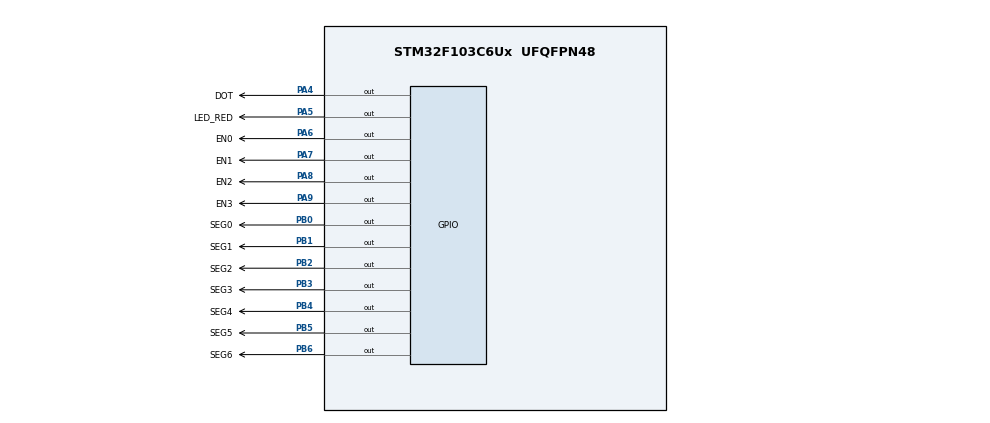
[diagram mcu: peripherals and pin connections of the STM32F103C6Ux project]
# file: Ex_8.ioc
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Mcu.Family=STM32F1
Mcu.Name=STM32F103C6Ux
Mcu.Package=UFQFPN48
NVIC.PriorityGroup=NVIC_PRIORITYGROUP_4
NVIC.TIM2_IRQn=true\:0\:0\:false\:false\:true\:true\:true
PA4.GPIO_Label=DOT
PA4.Signal=GPIO_Output
PA5.GPIO_Label=LED_RED
PA5.Signal=GPIO_Output
PA6.GPIO_Label=EN0
PA6.Signal=GPIO_Output
PA7.GPIO_Label=EN1
PA7.Signal=GPIO_Output
PA8.GPIO_Label=EN2
PA8.Signal=GPIO_Output
PA9.GPIO_Label=EN3
PA9.Signal=GPIO_Output
PB0.GPIO_Label=SEG0
PB0.Signal=GPIO_Output
PB1.GPIO_Label=SEG1
PB1.Signal=GPIO_Output
PB2.GPIO_Label=SEG2
PB2.Signal=GPIO_Output
PB3.GPIO_Label=SEG3
PB3.Signal=GPIO_Output
PB4.GPIO_Label=SEG4
PB4.Signal=GPIO_Output
PB5.GPIO_Label=SEG5
PB5.Signal=GPIO_Output
PB6.GPIO_Label=SEG6
PB6.Signal=GPIO_Output
ProjectManager.HeapSize=0x200
ProjectManager.StackSize=0x400
ProjectManager.TargetToolchain=STM32CubeIDE
RCC.APB1Freq_Value=8000000
RCC.APB2Freq_Value=8000000
TIM2.Period=9
TIM2.Prescaler=7999
VP_SYS_VS_ND.Mode=No_Debug
VP_TIM2_VS_ClockSourceINT.Mode=Internal
board=custom

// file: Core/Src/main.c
/* USER CODE BEGIN Header */
/**
  ******************************************************************************
  * @file           : main.c
  * @brief          : Main program body
  ******************************************************************************
  * @attention
  *
  * <h2><center>&copy; Copyright (c) 2023 STMicroelectronics.
  * All rights reserved.</center></h2>
  *
  * This software component is licensed by ST under BSD 3-Clause license,
  * the "License"; You may not use this file except in compliance with the
  * License. You may obtain a copy of the License at:
  *                        opensource.org/licenses/BSD-3-Clause
  *
  ******************************************************************************
  */
/* USER CODE END Header */
#include "main.h"

TIM_HandleTypeDef htim2;

void SystemClock_Config(void);
static void MX_GPIO_Init(void);
static void MX_TIM2_Init(void);
/* USER CODE BEGIN PFP */
void update7SEG(int index);
void display7SEG(int num);
void updateClockBuffer(void);
/* USER CODE END PFP */

/* USER CODE BEGIN 0 */
int hour = 15, minute = 8, second = 50;

const int MAX_LED = 4;
int index_led = 0;
int led_buffer[4] = {1, 3, 5, 7};
int counter = 100;

int timer0_counter = 0;
int timer0_flag = 0;
int TIMER_CYCLE = 10;

void setTimer0(int duration){
	timer0_counter = duration / TIMER_CYCLE;
	timer0_flag = 0;
}

int timer1_counter = 0;
int timer1_flag = 0;

void setTimer1(int duration) {
	timer1_counter = duration / TIMER_CYCLE;
	timer1_flag = 0;
}

void timer_run(){
	if(timer0_counter > 0){
		timer0_counter--;
		if(timer0_counter == 0)
			timer0_flag = 1;
	}
	if(timer1_counter > 0){
		timer1_counter--;
		if(timer1_counter == 0)
			timer1_flag = 1;
	}
}

/* USER CODE END 0 */

int main(void)
{

  /* MCU Configuration--------------------------------------------------------*/

  /* Reset of all peripherals, Initializes the Flash interface and the Systick. */
  HAL_Init();

  /* Configure the system clock */
  SystemClock_Config();

  /* Initialize all configured peripherals */
  MX_GPIO_Init();
  MX_TIM2_Init();
  /* USER CODE BEGIN 2 */
  HAL_TIM_Base_Start_IT(&htim2);
  setTimer0(TIMER_CYCLE);
  setTimer1(TIMER_CYCLE);
  /* USER CODE END 2 */

  /* Infinite loop */
  /* USER CODE BEGIN WHILE */
  while (1)
  {
	  if(timer0_flag == 1){
	  		  second++;
	  		  if(second >= 60) {
	  			  minute+=1;
	  			  second = 0;
	  		  }
	  		  if(minute >= 60) {
	  			  hour+=1;
	  	  		  minute = 0;
	  		  }
	  		  if(hour >= 24) {
	  	  		  hour = 0;
	  		  }
	  		  updateClockBuffer();
	  		  HAL_GPIO_TogglePin(GPIOA, DOT_Pin);
	  		  setTimer0(1000);
	  }
	  if(timer1_flag == 1) {
	  		update7SEG(index_led);
	  		index_led = (index_led + 1) % 4;
	  		setTimer1(1000);
	  }
  }
}

void SystemClock_Config(void)
{
  RCC_OscInitTypeDef RCC_OscInitStruct = {0};
  RCC_ClkInitTypeDef RCC_ClkInitStruct = {0};

  /** Initializes the RCC Oscillators according to the specified parameters
  * in the RCC_OscInitTypeDef structure.
  */
  RCC_OscInitStruct.OscillatorType = RCC_OSCILLATORTYPE_HSI;
  RCC_OscInitStruct.HSIState = RCC_HSI_ON;
  RCC_OscInitStruct.HSICalibrationValue = RCC_HSICALIBRATION_DEFAULT;
  RCC_OscInitStruct.PLL.PLLState = RCC_PLL_NONE;
  if (HAL_RCC_OscConfig(&RCC_OscInitStruct) != HAL_OK)
  {
    Error_Handler();
  }
  /** Initializes the CPU, AHB and APB buses clocks
  */
  RCC_ClkInitStruct.ClockType = RCC_CLOCKTYPE_HCLK|RCC_CLOCKTYPE_SYSCLK
                              |RCC_CLOCKTYPE_PCLK1|RCC_CLOCKTYPE_PCLK2;
  RCC_ClkInitStruct.SYSCLKSource = RCC_SYSCLKSOURCE_HSI;
  RCC_ClkInitStruct.AHBCLKDivider = RCC_SYSCLK_DIV1;
  RCC_ClkInitStruct.APB1CLKDivider = RCC_HCLK_DIV1;
  RCC_ClkInitStruct.APB2CLKDivider = RCC_HCLK_DIV1;

  if (HAL_RCC_ClockConfig(&RCC_ClkInitStruct, FLASH_LATENCY_0) != HAL_OK)
  {
    Error_Handler();
  }
}

static void MX_TIM2_Init(void)
{

  TIM_ClockConfigTypeDef sClockSourceConfig = {0};
  TIM_MasterConfigTypeDef sMasterConfig = {0};

  htim2.Instance = TIM2;
  htim2.Init.Prescaler = 7999;
  htim2.Init.CounterMode = TIM_COUNTERMODE_UP;
  htim2.Init.Period = 9;
  htim2.Init.ClockDivision = TIM_CLOCKDIVISION_DIV1;
  htim2.Init.AutoReloadPreload = TIM_AUTORELOAD_PRELOAD_DISABLE;
  if (HAL_TIM_Base_Init(&htim2) != HAL_OK)
  {
    Error_Handler();
  }
  sClockSourceConfig.ClockSource = TIM_CLOCKSOURCE_INTERNAL;
  if (HAL_TIM_ConfigClockSource(&htim2, &sClockSourceConfig) != HAL_OK)
  {
    Error_Handler();
  }
  sMasterConfig.MasterOutputTrigger = TIM_TRGO_RESET;
  sMasterConfig.MasterSlaveMode = TIM_MASTERSLAVEMODE_DISABLE;
  if (HAL_TIMEx_MasterConfigSynchronization(&htim2, &sMasterConfig) != HAL_OK)
  {
    Error_Handler();
  }

}

static void MX_GPIO_Init(void)
{
  GPIO_InitTypeDef GPIO_InitStruct = {0};

  /* GPIO Ports Clock Enable */
  __HAL_RCC_GPIOA_CLK_ENABLE();
  __HAL_RCC_GPIOB_CLK_ENABLE();

  /*Configure GPIO pin Output Level */
  HAL_GPIO_WritePin(GPIOA, DOT_Pin|LED_RED_Pin|EN0_Pin|EN1_Pin
                          |EN2_Pin|EN3_Pin, GPIO_PIN_RESET);

  /*Configure GPIO pin Output Level */
  HAL_GPIO_WritePin(GPIOB, SEG0_Pin|SEG1_Pin|SEG2_Pin|SEG3_Pin
                          |SEG4_Pin|SEG5_Pin|SEG6_Pin, GPIO_PIN_RESET);

  /*Configure GPIO pins : DOT_Pin LED_RED_Pin EN0_Pin EN1_Pin
                           EN2_Pin EN3_Pin */
  GPIO_InitStruct.Pin = DOT_Pin|LED_RED_Pin|EN0_Pin|EN1_Pin
                          |EN2_Pin|EN3_Pin;
  GPIO_InitStruct.Mode = GPIO_MODE_OUTPUT_PP;
  GPIO_InitStruct.Pull = GPIO_NOPULL;
  GPIO_InitStruct.Speed = GPIO_SPEED_FREQ_LOW;
  HAL_GPIO_Init(GPIOA, &GPIO_InitStruct);

  /*Configure GPIO pins : SEG0_Pin SEG1_Pin SEG2_Pin SEG3_Pin
                           SEG4_Pin SEG5_Pin SEG6_Pin */
  GPIO_InitStruct.Pin = SEG0_Pin|SEG1_Pin|SEG2_Pin|SEG3_Pin
                          |SEG4_Pin|SEG5_Pin|SEG6_Pin;
  GPIO_InitStruct.Mode = GPIO_MODE_OUTPUT_PP;
  GPIO_InitStruct.Pull = GPIO_NOPULL;
  GPIO_InitStruct.Speed = GPIO_SPEED_FREQ_LOW;
  HAL_GPIO_Init(GPIOB, &GPIO_InitStruct);

}

/* USER CODE BEGIN 4 */
void HAL_TIM_PeriodElapsedCallback(TIM_HandleTypeDef *htim) {
	timer_run();
}

void display7SEG(int num) {
	switch (num) {
	case 0:
		HAL_GPIO_WritePin(GPIOB, SEG6_Pin, GPIO_PIN_SET);
		HAL_GPIO_WritePin(GPIOB, SEG0_Pin|SEG1_Pin|SEG2_Pin|
				SEG3_Pin|SEG4_Pin|SEG5_Pin, GPIO_PIN_RESET);
		break;
	case 1:
		HAL_GPIO_WritePin(GPIOB, SEG0_Pin|
				SEG3_Pin|SEG4_Pin|SEG5_Pin|SEG6_Pin, GPIO_PIN_SET);
		HAL_GPIO_WritePin(GPIOB, SEG1_Pin|SEG2_Pin, GPIO_PIN_RESET);
		break;
	case 2:
		HAL_GPIO_WritePin(GPIOB, SEG2_Pin|SEG5_Pin, GPIO_PIN_SET);
		HAL_GPIO_WritePin(GPIOB, SEG0_Pin|SEG1_Pin|
				SEG3_Pin|SEG4_Pin|SEG6_Pin, GPIO_PIN_RESET);
		break;
	case 3:
		HAL_GPIO_WritePin(GPIOB, SEG4_Pin|SEG5_Pin, GPIO_PIN_SET);
		HAL_GPIO_WritePin(GPIOB, SEG0_Pin|SEG1_Pin|SEG2_Pin|
				SEG3_Pin|SEG6_Pin, GPIO_PIN_RESET);
		break;
	case 4:
		HAL_GPIO_WritePin(GPIOB, SEG0_Pin|SEG3_Pin|SEG4_Pin, GPIO_PIN_SET);
		HAL_GPIO_WritePin(GPIOB, SEG1_Pin|SEG2_Pin|
				SEG5_Pin|SEG6_Pin, GPIO_PIN_RESET);
		break;
	case 5:
		HAL_GPIO_WritePin(GPIOB, SEG1_Pin|SEG4_Pin, GPIO_PIN_SET);
		HAL_GPIO_WritePin(GPIOB, SEG0_Pin|SEG2_Pin|SEG3_Pin|
				SEG5_Pin|SEG6_Pin, GPIO_PIN_RESET);
		break;
	case 6:
		HAL_GPIO_WritePin(GPIOB, SEG1_Pin, GPIO_PIN_SET);
		HAL_GPIO_WritePin(GPIOB, SEG0_Pin|SEG2_Pin|SEG3_Pin|SEG4_Pin|
				SEG5_Pin|SEG6_Pin, GPIO_PIN_RESET);
		break;
	case 7:
		HAL_GPIO_WritePin(GPIOB, SEG3_Pin|SEG4_Pin|
				SEG5_Pin|SEG6_Pin, GPIO_PIN_SET);
		HAL_GPIO_WritePin(GPIOB, SEG0_Pin|SEG1_Pin|SEG2_Pin, GPIO_PIN_RESET);
		break;
	case 8:
		HAL_GPIO_WritePin(GPIOB, SEG0_Pin|SEG1_Pin|SEG2_Pin|SEG3_Pin|SEG4_Pin|
				SEG5_Pin|SEG6_Pin, GPIO_PIN_RESET);
		break;
	case 9:
		HAL_GPIO_WritePin(GPIOB, SEG4_Pin, GPIO_PIN_SET);
		HAL_GPIO_WritePin(GPIOB, SEG0_Pin|SEG1_Pin|SEG2_Pin|SEG3_Pin|
				SEG5_Pin|SEG6_Pin, GPIO_PIN_RESET);
		break;
	default:
		HAL_GPIO_WritePin(GPIOB, SEG0_Pin|SEG1_Pin|SEG2_Pin|SEG3_Pin|SEG4_Pin|
				SEG5_Pin|SEG6_Pin, GPIO_PIN_SET);
		break;
	}
}

void update7SEG(int index_led) {
	switch (index_led) {
	case 0:
		// Display the first 7 SEG with led_buffer [0]
		HAL_GPIO_WritePin(GPIOA, EN0_Pin, GPIO_PIN_RESET);
		HAL_GPIO_WritePin(GPIOA, EN1_Pin, GPIO_PIN_SET);
		HAL_GPIO_WritePin(GPIOA, EN2_Pin, GPIO_PIN_SET);
		HAL_GPIO_WritePin(GPIOA, EN3_Pin, GPIO_PIN_SET);
		display7SEG(led_buffer[index_led]);
		break;
	case 1:
		// Display the second 7 SEG with led_buffer [1]
		HAL_GPIO_WritePin(GPIOA, EN0_Pin, GPIO_PIN_SET);
		HAL_GPIO_WritePin(GPIOA, EN1_Pin, GPIO_PIN_RESET);
		HAL_GPIO_WritePin(GPIOA, EN2_Pin, GPIO_PIN_SET);
		HAL_GPIO_WritePin(GPIOA, EN3_Pin, GPIO_PIN_SET);
		display7SEG(led_buffer[index_led]);
		break;
	case 2:
		// Display the third 7 SEG with led_buffer [2]
		HAL_GPIO_WritePin(GPIOA, EN0_Pin, GPIO_PIN_SET);
		HAL_GPIO_WritePin(GPIOA, EN1_Pin, GPIO_PIN_SET);
		HAL_GPIO_WritePin(GPIOA, EN2_Pin, GPIO_PIN_RESET);
		HAL_GPIO_WritePin(GPIOA, EN3_Pin, GPIO_PIN_SET);
		display7SEG(led_buffer[index_led]);
		break;
	case 3:
		// Display the forth 7 SEG with led_buffer [3]
		HAL_GPIO_WritePin(GPIOA, EN0_Pin, GPIO_PIN_SET);
		HAL_GPIO_WritePin(GPIOA, EN1_Pin, GPIO_PIN_SET);
		HAL_GPIO_WritePin(GPIOA, EN2_Pin, GPIO_PIN_SET);
		HAL_GPIO_WritePin(GPIOA, EN3_Pin, GPIO_PIN_RESET);
		display7SEG(led_buffer[index_led]);
		break;
	}
}

void updateClockBuffer(void) {
	led_buffer[0] = hour / 10;
	led_buffer[1] = hour % 10;
	led_buffer[2] = minute / 10;
	led_buffer[3] = minute % 10;
}
/* USER CODE END 4 */

void Error_Handler(void)
{
  __disable_irq();
  while (1)
  {
  }
}

/************************ (C) COPYRIGHT STMicroelectronics *****END OF FILE****/
